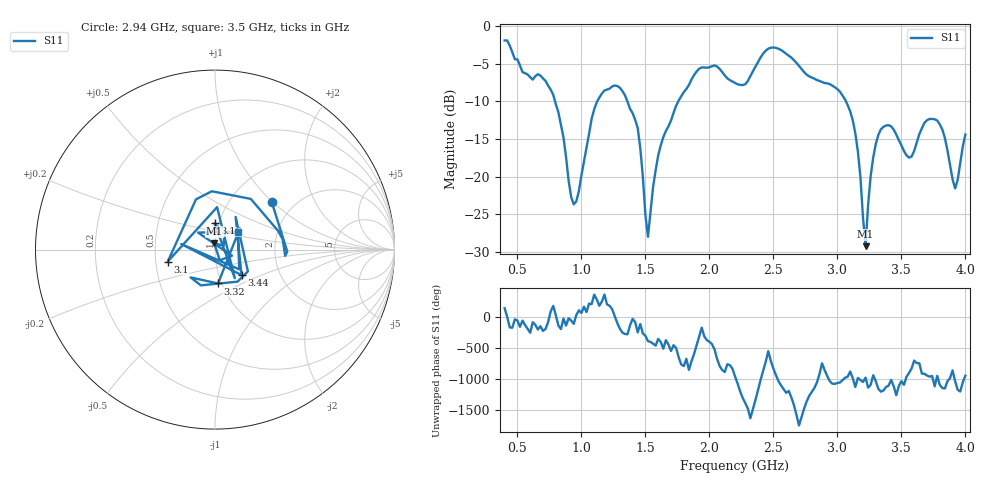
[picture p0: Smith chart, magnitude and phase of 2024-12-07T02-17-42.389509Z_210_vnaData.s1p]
!Created with skrf (http://scikit-rf.org).
# Hz S RI R 50.0
!freq ReS11 ImS11
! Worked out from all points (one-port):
!   181 points, 400 MHz to 4 GHz, reference 50 ohm
!   lowest |S11| = -29.3 dB at 3.22 GHz (marker M1), VSWR 1.07, Z = 49.5 + j3.39 ohm
!   |S11| at or under -10 dB: 794.2 MHz to 1.123 GHz (329.3 MHz wide, 34.3 % of centre); 1.359 GHz to 1.757 GHz (397.3 MHz wide, 25.5 % of centre); 3.067 GHz to end of sweep
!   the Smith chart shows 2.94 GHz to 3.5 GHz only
!   S11 on the Smith chart (normalised r, x): 2.94 GHz: 1.54, +0.99; 3.1 GHz: 0.58, -0.08; 3.16 GHz: 0.95, +0.29; 3.32 GHz: 0.96, -0.38; 3.44 GHz: 1.28, -0.38; 3.5 GHz: 1.26, +0.26
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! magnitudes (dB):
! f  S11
! 400 MHz  -1.9
! 540 MHz  -6.1
! 720 MHz  -7.3
! 860 MHz  -14.8
! 940 MHz  -23.7
! 1.12 GHz  -10.1
! 1.3 GHz  -8.2
! 1.44 GHz  -13.5
! 1.52 GHz  -28.0
! 1.6 GHz  -17.2
! 1.76 GHz  -9.9
! 1.94 GHz  -5.5
! 2.2 GHz  -7.5
! 2.46 GHz  -3.0
! 2.66 GHz  -4.5
! 2.94 GHz  -7.7
! 3.1 GHz  -11.3
! 3.16 GHz  -16.7
! 3.22 GHz  -29.3
! 3.26 GHz  -19.9
! 3.32 GHz  -14.5
! 3.44 GHz  -13.8
! 3.5 GHz  -15.8
! 3.56 GHz  -17.5
! 3.68 GHz  -12.8
! 3.78 GHz  -12.5
! 3.92 GHz  -21.6
! 4 GHz  -14.4
